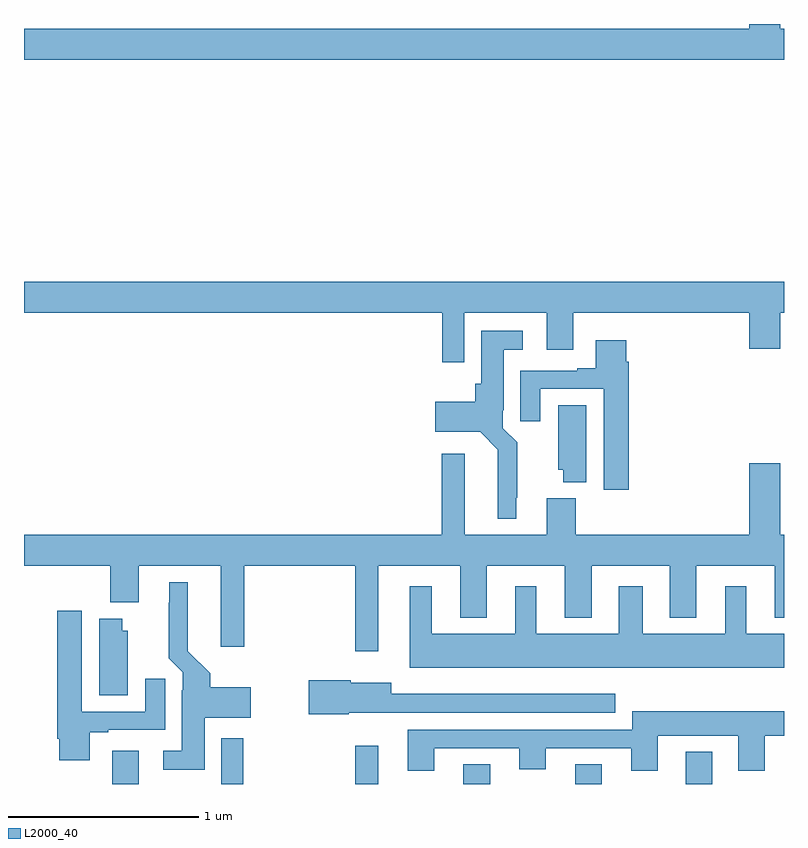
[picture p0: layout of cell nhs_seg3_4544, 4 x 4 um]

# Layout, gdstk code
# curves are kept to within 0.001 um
import gdstk
lib = gdstk.Library(unit=1e-6, precision=1e-09)
def R(c, l, rs):  # rectangles x0, y0, x1, y1
    for r in rs: c.add(gdstk.rectangle(r[:2], r[2:], *l))
def P(c, l, *ps):  # polygons
    for p in ps: c.add(gdstk.Polygon(p, *l))
L2000_40 = (2000, 40)

nhs_seg3_4544 = lib.new_cell('nhs_seg3_4544')
R(nhs_seg3_4544, L2000_40, [(353.465,734.4,353.605,734.575), (354.039,734.4,354.155,734.641), (354.744,734.4,354.865,734.602), (355.313,734.4,355.453,734.504), (355.901,734.4,356.041,734.504), (356.483,734.4,356.623,734.569)])
P(nhs_seg3_4544, L2000_40, [(357,738.376),(356.98,738.376),(356.98,738.4),(356.816,738.4),(356.816,738.376),(353,738.376),(353,738.212),(357,738.212)],
  [(355.317,736.88),(355.751,736.88),(355.751,736.686),(355.891,736.686),(355.891,736.88),(356.816,736.88),(356.816,736.692),(356.98,736.692),(356.98,736.88),(357,736.88),(357,737.044),(353,737.044),(353,736.88),(355.201,736.88),(355.201,736.62),(355.317,736.62)],
  [(355.591,735.907),(355.595,735.907),(355.595,736.198),(355.521,736.272),(355.521,736.366),(355.525,736.366),(355.525,736.685),(355.624,736.685),(355.624,736.786),(355.406,736.786),(355.406,736.506),(355.376,736.506),(355.376,736.411),(355.164,736.411),(355.164,736.253),(355.401,736.253),(355.494,736.16),(355.493,735.797),(355.591,735.797)],
  [(356.183,736.622),(356.17,736.622),(356.17,736.735),(356.009,736.735),(356.009,736.588),(355.913,736.588),(355.913,736.575),(355.613,736.575),(355.613,736.308),(355.717,736.308),(355.717,736.479),(356.051,736.479),(356.051,735.948),(356.183,735.948)],
  [(355.96,736.394),(355.811,736.394),(355.811,736.053),(355.838,736.053),(355.838,735.989),(355.96,735.989)],
  [(354.865,735.548),(355.295,735.548),(355.295,735.275),(355.435,735.275),(355.435,735.548),(355.847,735.548),(355.847,735.275),(355.987,735.275),(355.987,735.548),(356.399,735.548),(356.399,735.275),(356.539,735.275),(356.539,735.548),(356.951,735.548),(356.951,735.275),(357,735.275),(357,735.712),(356.98,735.712),(356.98,736.087),(356.816,736.087),(356.816,735.712),(355.904,735.712),(355.904,735.904),(355.751,735.904),(355.751,735.712),(355.321,735.712),(355.321,736.138),(355.199,736.138),(355.199,735.712),(353,735.712),(353,735.548),(353.453,735.548),(353.453,735.356),(353.605,735.356),(353.605,735.548),(354.035,735.548),(354.035,735.123),(354.158,735.123),(354.158,735.548),(354.744,735.548),(354.744,735.099),(354.865,735.099)],
  [(353.95,734.75),(354.193,734.75),(354.193,734.908),(353.981,734.908),(353.981,734.982),(353.863,735.1),(353.863,735.463),(353.765,735.463),(353.765,735.353),(353.761,735.353),(353.761,735.062),(353.835,734.988),(353.835,734.894),(353.831,734.894),(353.831,734.575),(353.733,734.575),(353.733,734.474),(353.95,734.474)],
  [(357,735.19),(356.8,735.19),(356.8,735.442),(356.69,735.442),(356.69,735.19),(356.257,735.19),(356.257,735.442),(356.129,735.442),(356.129,735.19),(355.696,735.19),(355.696,735.442),(355.586,735.442),(355.586,735.19),(355.147,735.19),(355.147,735.442),(355.031,735.442),(355.031,735.011),(357,735.011)],
  [(353.347,734.673),(353.443,734.673),(353.443,734.685),(353.743,734.685),(353.743,734.953),(353.639,734.953),(353.639,734.781),(353.305,734.781),(353.305,735.313),(353.174,735.313),(353.174,734.638),(353.186,734.638),(353.186,734.526),(353.347,734.526)],
  [(353.545,735.207),(353.518,735.207),(353.518,735.271),(353.396,735.271),(353.396,734.866),(353.545,734.866)],
  [(354.71,734.774),(356.113,734.774),(356.113,734.875),(354.934,734.875),(354.934,734.932),(354.72,734.932),(354.72,734.945),(354.498,734.945),(354.498,734.767),(354.71,734.767)],
  [(355.159,734.589),(355.607,734.589),(355.607,734.477),(355.747,734.477),(355.747,734.589),(356.195,734.589),(356.195,734.469),(356.335,734.469),(356.335,734.654),(356.759,734.654),(356.759,734.469),(356.899,734.469),(356.899,734.654),(357,734.654),(357,734.782),(356.201,734.782),(356.201,734.685),(355.019,734.685),(355.019,734.469),(355.159,734.469)])

lib.write_gds('nhs_seg3_4544.gds')
